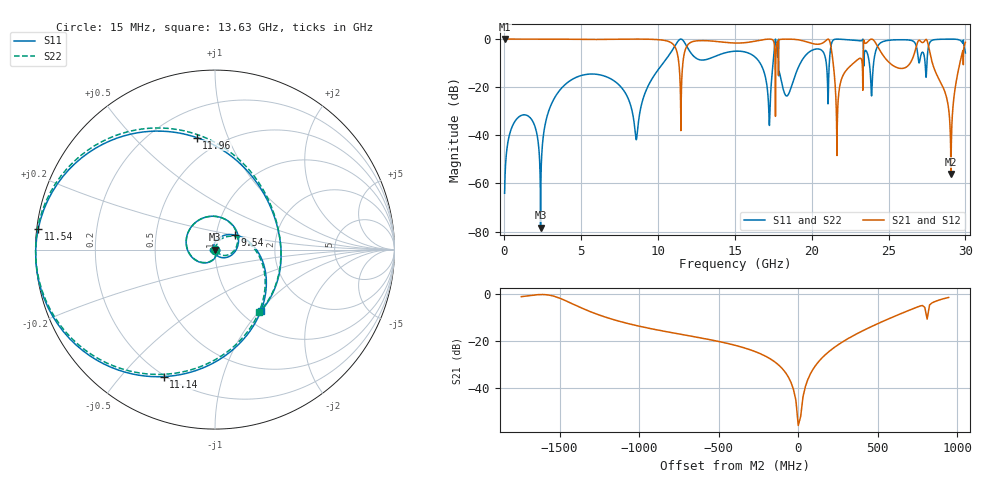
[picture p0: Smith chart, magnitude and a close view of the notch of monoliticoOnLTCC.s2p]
! S parameter file generated by ana
#  GHz  S  DB  R  50
! frequency  S11_dB  S11_deg  S21_dB  S21_deg  S12_dB  S12_deg  S22_dB  S22_deg
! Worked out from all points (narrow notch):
!   2000 points, 15 MHz to 30 GHz, reference 50 ohm
!   highest |S21| = 0.00 dB at 15 MHz (marker M1); lowest = -56.1 dB at 29.05 GHz (marker M2)
!   notch at M2: 55.4 dB deep, 291 MHz wide at half that depth
!   lowest |S11| = -78.4 dB at 2.355 GHz (marker M3), VSWR 1.00, Z = 50 + j0.00548 ohm
!   |S11| at or under -10 dB: start of sweep to 10.33 GHz; 16.64 GHz to 17.48 GHz (840.8 MHz wide, 4.93 % of centre); 17.84 GHz to 19.26 GHz (1.418 GHz wide, 7.64 % of centre)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
!   |S22| runs from -78.4 to 0.0 dB; largest |S21 - S12| = 0
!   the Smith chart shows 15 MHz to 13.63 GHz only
!   S11 on the Smith chart (normalised r, x): 15 MHz: 1.00, -0.00; 9.54 GHz: 1.23, +0.20; 11.14 GHz: 0.19, -0.66; 11.54 GHz: 0.00, +0.06; 11.96 GHz: 0.37, +0.78; 13.63 GHz: 1.22, -1.02
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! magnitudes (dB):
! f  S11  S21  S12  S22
! 15 MHz  -64.1  0.0  0.0  -64.1
! 1.08 GHz  -31.8  0.0  0.0  -31.8
! 2.355 GHz  -78.4  0.0  0.0  -78.4
! 5.025 GHz  -15.1  -0.1  -0.1  -15.1
! 8.58 GHz  -41.8  0.0  0.0  -41.8
! 9.54 GHz  -17.3  -0.1  -0.1  -17.3
! 10.02 GHz  -12.6  -0.2  -0.2  -12.6
! 11.14 GHz  -2.4  -3.8  -3.8  -2.4
! 11.54 GHz  -0.1  -17.9  -17.9  -0.1
! 11.96 GHz  -4.0  -2.2  -2.2  -4.0
! 13.63 GHz  -7.4  -0.9  -0.9  -7.4
! 15.02 GHz  -5.0  -1.6  -1.6  -5.0
! 17.22 GHz  -32.2  0.0  0.0  -32.2
! 17.68 GHz  -1.7  -4.9  -4.9  -1.7
! 18.38 GHz  -23.7  0.0  0.0  -23.7
! 20.01 GHz  -4.7  -1.8  -1.8  -4.7
! 21.14 GHz  -11.0  -0.4  -0.4  -11.0
! 21.68 GHz  0.0  -32.0  -32.0  0.0
! 25 GHz  -0.5  -9.5  -9.5  -0.5
! 27.45 GHz  -15.9  -0.1  -0.1  -15.9
! 29.05 GHz  0.0  -56.1  -56.1  0.0
! 30 GHz  -5.7  -1.3  -1.3  -5.7
